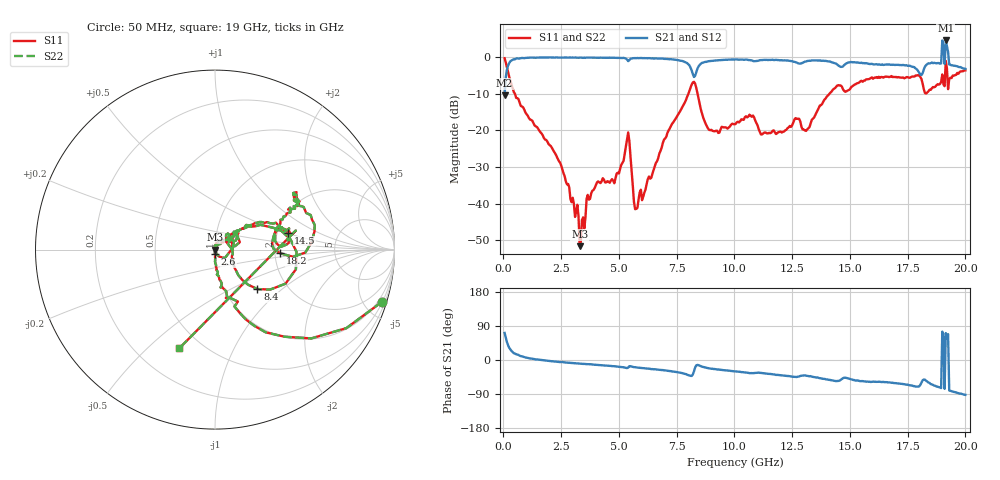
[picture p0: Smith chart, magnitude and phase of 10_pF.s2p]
!251R15S100JV4S  Sept, 2006
#	mhz	s	ma	r	50
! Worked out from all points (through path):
!   400 points, 50 MHz to 20 GHz, reference 50 ohm
!   highest |S21| = 4.64 dB at 19.15 GHz (marker M1); lowest = -10.3 dB at 50 MHz (marker M2)
!   lowest |S11| = -51.7 dB at 3.3 GHz (marker M3), VSWR 1.01, Z = 50.2 - j0.0846 ohm
!   |S11| at or under -10 dB: 500.4 MHz to 8.006 GHz (7.505 GHz wide, 176 % of centre); 8.406 GHz to 14.11 GHz (5.703 GHz wide, 50.7 % of centre)
!   |S22| runs from -51.7 to -0.2 dB; largest |S21 - S12| = 0
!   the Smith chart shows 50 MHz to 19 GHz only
!   S11 on the Smith chart (normalised r, x): 50 MHz: 0.58, -6.46; 2.6 GHz: 1.00, -0.05; 8.4 GHz: 1.42, -0.70; 14.5 GHz: 2.28, +0.52; 18.2 GHz: 2.14, -0.10; 19 GHz: 0.38, -0.63
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50  0.9736 -17.5  0.3038 71.4  0.3038 71.4  0.9736 -17.5
450  0.3346 -71.1  0.9452 18.0  0.9452 18.0  0.3346 -71.1
2600  0.02597 -88.8  0.9948 -6.1  0.9948 -6.1  0.02597 -88.8
3300  0.00261 -18.8  0.9918 -9.5  0.9918 -9.5  0.00261 -18.8
3400  0.00597 -6.0  0.9909 -10.0  0.9909 -10.0  0.00597 -6.0
5400  0.09398 2.1  0.8881 -20.0  0.8881 -20.0  0.09398 2.1
5700  0.00838 -76.9  0.9775 -19.1  0.9775 -19.1  0.00838 -76.9
6700  0.0418 46.7  0.9627 -25.5  0.9627 -25.5  0.0418 46.7
8400  0.323 -42.9  0.7028 -13.0  0.7028 -13.0  0.323 -42.9
10050  0.1226 36.5  0.9402 -30.0  0.9402 -30.0  0.1226 36.5
13350  0.1399 41.5  0.9081 -44.0  0.9081 -44.0  0.1399 41.5
14500  0.4166 13.1  0.7746 -55.3  0.7746 -55.3  0.4166 13.1
16700  0.5367 35.4  0.8037 -59.0  0.8037 -59.0  0.5367 35.4
18200  0.3651 -3.3  0.6864 -51.3  0.6864 -51.3  0.3651 -3.3
18950  0.4625 13.3  0.8278 -74.1  0.8278 -74.1  0.4625 13.3
19000  0.5839 -109.8  1.704 74.9  1.704 74.9  0.5839 -109.8
19050  0.427 -153.6  1.398 60.4  1.398 60.4  0.427 -153.6
19100  0.4038 8.4  0.8134 -76.1  0.8134 -76.1  0.4038 8.4
19150  0.8955 -145.3  1.706 71.0  1.706 71.0  0.8955 -145.3
19250  0.3679 23.0  1.196 68.3  1.196 68.3  0.3679 23.0
19300  0.5064 10.0  0.7984 -80.6  0.7984 -80.6  0.5064 10.0
20000  0.6657 6.3  0.6965 -92.0  0.6965 -92.0  0.6657 6.3
